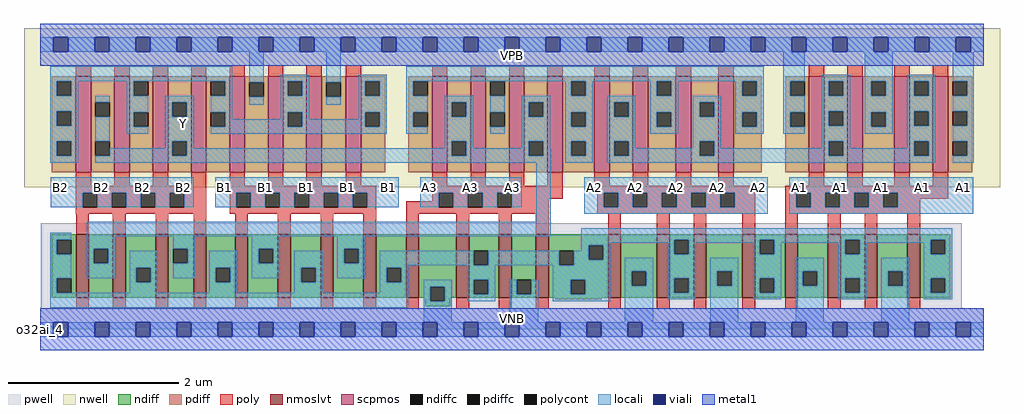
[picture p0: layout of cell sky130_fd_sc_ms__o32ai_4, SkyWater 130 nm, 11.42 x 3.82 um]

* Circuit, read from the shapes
.subckt sky130_fd_sc_ms__o32ai_4 A1 A2 A3 B1 B2 VGND VNB VPB VPWR Y
XM1 Y B2 n1 VNB sky130_fd_pr__nfet_01v8_lvt w=0.74 l=0.15 m=4
XM2 Y B1 n1 VNB sky130_fd_pr__nfet_01v8_lvt w=0.74 l=0.15 m=4
XM3 VGND A3 n1 VNB sky130_fd_pr__nfet_01v8_lvt w=0.74 l=0.15 m=4
XM4 VGND A2 n1 VNB sky130_fd_pr__nfet_01v8_lvt w=0.74 l=0.15 m=4
XM5 VGND A1 n1 VNB sky130_fd_pr__nfet_01v8_lvt w=0.74 l=0.15 m=4
XM6 Y B2 n2 VPB sky130_fd_pr__pfet_01v8 w=1.12 l=0.18 m=4
XM7 VPWR B1 n2 VPB sky130_fd_pr__pfet_01v8 w=1.12 l=0.18 m=4
XM8 Y A3 n3 VPB sky130_fd_pr__pfet_01v8 w=1.12 l=0.18 m=4
XM9 n4 A2 n3 VPB sky130_fd_pr__pfet_01v8 w=1.12 l=0.18 m=4
XM10 n4 A1 VPWR VPB sky130_fd_pr__pfet_01v8 w=1.12 l=0.18 m=4
.ends

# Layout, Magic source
magic
tech sky130A
magscale 1 2
<< nwell >>
rect -38 332 2246 704
<< pwell >>
rect 1 49 2156 248
rect 0 0 2208 49
<< scpmos >>
rect 83 368 119 592
rect 173 368 209 592
rect 263 368 299 592
rect 353 368 389 592
rect 443 368 479 592
rect 533 368 569 592
rect 623 368 659 592
rect 715 368 751 592
rect 917 368 953 592
rect 1007 368 1043 592
rect 1097 368 1133 592
rect 1187 368 1223 592
rect 1297 368 1333 592
rect 1387 368 1423 592
rect 1487 368 1523 592
rect 1587 368 1623 592
rect 1799 368 1835 592
rect 1889 368 1925 592
rect 1999 368 2035 592
rect 2089 368 2125 592
<< nmoslvt >>
rect 84 74 114 222
rect 170 74 200 222
rect 270 74 300 222
rect 359 74 389 222
rect 456 74 486 222
rect 556 74 586 222
rect 656 74 686 222
rect 756 74 786 222
rect 856 74 886 222
rect 974 74 1004 222
rect 1073 74 1103 222
rect 1160 74 1190 222
rect 1329 74 1359 222
rect 1443 74 1473 222
rect 1529 74 1559 222
rect 1643 74 1673 222
rect 1743 74 1773 222
rect 1843 74 1873 222
rect 1929 74 1959 222
rect 2029 74 2059 222
<< ndiff >>
rect 27 210 84 222
rect 27 176 39 210
rect 73 176 84 210
rect 27 120 84 176
rect 27 86 39 120
rect 73 86 84 120
rect 27 74 84 86
rect 114 189 170 222
rect 114 155 125 189
rect 159 155 170 189
rect 114 74 170 155
rect 200 144 270 222
rect 200 110 225 144
rect 259 110 270 144
rect 200 74 270 110
rect 300 189 359 222
rect 300 155 311 189
rect 345 155 359 189
rect 300 74 359 155
rect 389 144 456 222
rect 389 110 411 144
rect 445 110 456 144
rect 389 74 456 110
rect 486 189 556 222
rect 486 155 511 189
rect 545 155 556 189
rect 486 74 556 155
rect 586 144 656 222
rect 586 110 611 144
rect 645 110 656 144
rect 586 74 656 110
rect 686 189 756 222
rect 686 155 711 189
rect 745 155 756 189
rect 686 74 756 155
rect 786 144 856 222
rect 786 110 811 144
rect 845 110 856 144
rect 786 74 856 110
rect 886 100 974 222
rect 886 74 913 100
rect 901 66 913 74
rect 947 74 974 100
rect 1004 184 1073 222
rect 1004 150 1015 184
rect 1049 150 1073 184
rect 1004 116 1073 150
rect 1004 82 1015 116
rect 1049 82 1073 116
rect 1004 74 1073 82
rect 1103 116 1160 222
rect 1103 82 1115 116
rect 1149 82 1160 116
rect 1103 74 1160 82
rect 1190 197 1329 222
rect 1190 184 1284 197
rect 1190 150 1215 184
rect 1249 163 1284 184
rect 1318 163 1329 197
rect 1249 150 1329 163
rect 1190 116 1329 150
rect 1190 82 1242 116
rect 1276 82 1329 116
rect 1190 74 1329 82
rect 1359 136 1443 222
rect 1359 102 1384 136
rect 1418 102 1443 136
rect 1359 74 1443 102
rect 1473 210 1529 222
rect 1473 176 1484 210
rect 1518 176 1529 210
rect 1473 120 1529 176
rect 1473 86 1484 120
rect 1518 86 1529 120
rect 1473 74 1529 86
rect 1559 136 1643 222
rect 1559 102 1584 136
rect 1618 102 1643 136
rect 1559 74 1643 102
rect 1673 210 1743 222
rect 1673 176 1684 210
rect 1718 176 1743 210
rect 1673 120 1743 176
rect 1673 86 1684 120
rect 1718 86 1743 120
rect 1673 74 1743 86
rect 1773 136 1843 222
rect 1773 102 1784 136
rect 1818 102 1843 136
rect 1773 74 1843 102
rect 1873 210 1929 222
rect 1873 176 1884 210
rect 1918 176 1929 210
rect 1873 120 1929 176
rect 1873 86 1884 120
rect 1918 86 1929 120
rect 1873 74 1929 86
rect 1959 136 2029 222
rect 1959 102 1984 136
rect 2018 102 2029 136
rect 1959 74 2029 102
rect 2059 210 2130 222
rect 2059 176 2084 210
rect 2118 176 2130 210
rect 2059 120 2130 176
rect 2059 86 2084 120
rect 2118 86 2130 120
rect 2059 74 2130 86
rect 947 66 959 74
rect 901 54 959 66
rect 1205 70 1314 74
<< pdiff >>
rect 27 580 83 592
rect 27 546 39 580
rect 73 546 83 580
rect 27 510 83 546
rect 27 476 39 510
rect 73 476 83 510
rect 27 440 83 476
rect 27 406 39 440
rect 73 406 83 440
rect 27 368 83 406
rect 119 531 173 592
rect 119 497 129 531
rect 163 497 173 531
rect 119 440 173 497
rect 119 406 129 440
rect 163 406 173 440
rect 119 368 173 406
rect 209 580 263 592
rect 209 546 219 580
rect 253 546 263 580
rect 209 508 263 546
rect 209 474 219 508
rect 253 474 263 508
rect 209 368 263 474
rect 299 531 353 592
rect 299 497 309 531
rect 343 497 353 531
rect 299 440 353 497
rect 299 406 309 440
rect 343 406 353 440
rect 299 368 353 406
rect 389 580 443 592
rect 389 546 399 580
rect 433 546 443 580
rect 389 508 443 546
rect 389 474 399 508
rect 433 474 443 508
rect 389 368 443 474
rect 479 578 533 592
rect 479 544 489 578
rect 523 544 533 578
rect 479 368 533 544
rect 569 580 623 592
rect 569 546 579 580
rect 613 546 623 580
rect 569 508 623 546
rect 569 474 579 508
rect 613 474 623 508
rect 569 368 623 474
rect 659 578 715 592
rect 659 544 669 578
rect 703 544 715 578
rect 659 368 715 544
rect 751 580 807 592
rect 751 546 761 580
rect 795 546 807 580
rect 751 508 807 546
rect 751 474 761 508
rect 795 474 807 508
rect 751 368 807 474
rect 861 580 917 592
rect 861 546 873 580
rect 907 546 917 580
rect 861 508 917 546
rect 861 474 873 508
rect 907 474 917 508
rect 861 368 917 474
rect 953 531 1007 592
rect 953 497 963 531
rect 997 497 1007 531
rect 953 440 1007 497
rect 953 406 963 440
rect 997 406 1007 440
rect 953 368 1007 406
rect 1043 580 1097 592
rect 1043 546 1053 580
rect 1087 546 1097 580
rect 1043 508 1097 546
rect 1043 474 1053 508
rect 1087 474 1097 508
rect 1043 368 1097 474
rect 1133 531 1187 592
rect 1133 497 1143 531
rect 1177 497 1187 531
rect 1133 440 1187 497
rect 1133 406 1143 440
rect 1177 406 1187 440
rect 1133 368 1187 406
rect 1223 580 1297 592
rect 1223 546 1243 580
rect 1277 546 1297 580
rect 1223 508 1297 546
rect 1223 474 1243 508
rect 1277 474 1297 508
rect 1223 440 1297 474
rect 1223 406 1243 440
rect 1277 406 1297 440
rect 1223 368 1297 406
rect 1333 531 1387 592
rect 1333 497 1343 531
rect 1377 497 1387 531
rect 1333 440 1387 497
rect 1333 406 1343 440
rect 1377 406 1387 440
rect 1333 368 1387 406
rect 1423 580 1487 592
rect 1423 546 1443 580
rect 1477 546 1487 580
rect 1423 508 1487 546
rect 1423 474 1443 508
rect 1477 474 1487 508
rect 1423 368 1487 474
rect 1523 531 1587 592
rect 1523 497 1543 531
rect 1577 497 1587 531
rect 1523 440 1587 497
rect 1523 406 1543 440
rect 1577 406 1587 440
rect 1523 368 1587 406
rect 1623 580 1689 592
rect 1623 546 1643 580
rect 1677 546 1689 580
rect 1623 508 1689 546
rect 1623 474 1643 508
rect 1677 474 1689 508
rect 1623 368 1689 474
rect 1743 580 1799 592
rect 1743 546 1755 580
rect 1789 546 1799 580
rect 1743 508 1799 546
rect 1743 474 1755 508
rect 1789 474 1799 508
rect 1743 368 1799 474
rect 1835 580 1889 592
rect 1835 546 1845 580
rect 1879 546 1889 580
rect 1835 510 1889 546
rect 1835 476 1845 510
rect 1879 476 1889 510
rect 1835 440 1889 476
rect 1835 406 1845 440
rect 1879 406 1889 440
rect 1835 368 1889 406
rect 1925 580 1999 592
rect 1925 546 1945 580
rect 1979 546 1999 580
rect 1925 508 1999 546
rect 1925 474 1945 508
rect 1979 474 1999 508
rect 1925 368 1999 474
rect 2035 580 2089 592
rect 2035 546 2045 580
rect 2079 546 2089 580
rect 2035 510 2089 546
rect 2035 476 2045 510
rect 2079 476 2089 510
rect 2035 440 2089 476
rect 2035 406 2045 440
rect 2079 406 2089 440
rect 2035 368 2089 406
rect 2125 580 2181 592
rect 2125 546 2135 580
rect 2169 546 2181 580
rect 2125 510 2181 546
rect 2125 476 2135 510
rect 2169 476 2181 510
rect 2125 440 2181 476
rect 2125 406 2135 440
rect 2169 406 2181 440
rect 2125 368 2181 406
<< ndiffc >>
rect 39 176 73 210
rect 39 86 73 120
rect 125 155 159 189
rect 225 110 259 144
rect 311 155 345 189
rect 411 110 445 144
rect 511 155 545 189
rect 611 110 645 144
rect 711 155 745 189
rect 811 110 845 144
rect 913 66 947 100
rect 1015 150 1049 184
rect 1015 82 1049 116
rect 1115 82 1149 116
rect 1215 150 1249 184
rect 1284 163 1318 197
rect 1242 82 1276 116
rect 1384 102 1418 136
rect 1484 176 1518 210
rect 1484 86 1518 120
rect 1584 102 1618 136
rect 1684 176 1718 210
rect 1684 86 1718 120
rect 1784 102 1818 136
rect 1884 176 1918 210
rect 1884 86 1918 120
rect 1984 102 2018 136
rect 2084 176 2118 210
rect 2084 86 2118 120
<< pdiffc >>
rect 39 546 73 580
rect 39 476 73 510
rect 39 406 73 440
rect 129 497 163 531
rect 129 406 163 440
rect 219 546 253 580
rect 219 474 253 508
rect 309 497 343 531
rect 309 406 343 440
rect 399 546 433 580
rect 399 474 433 508
rect 489 544 523 578
rect 579 546 613 580
rect 579 474 613 508
rect 669 544 703 578
rect 761 546 795 580
rect 761 474 795 508
rect 873 546 907 580
rect 873 474 907 508
rect 963 497 997 531
rect 963 406 997 440
rect 1053 546 1087 580
rect 1053 474 1087 508
rect 1143 497 1177 531
rect 1143 406 1177 440
rect 1243 546 1277 580
rect 1243 474 1277 508
rect 1243 406 1277 440
rect 1343 497 1377 531
rect 1343 406 1377 440
rect 1443 546 1477 580
rect 1443 474 1477 508
rect 1543 497 1577 531
rect 1543 406 1577 440
rect 1643 546 1677 580
rect 1643 474 1677 508
rect 1755 546 1789 580
rect 1755 474 1789 508
rect 1845 546 1879 580
rect 1845 476 1879 510
rect 1845 406 1879 440
rect 1945 546 1979 580
rect 1945 474 1979 508
rect 2045 546 2079 580
rect 2045 476 2079 510
rect 2045 406 2079 440
rect 2135 546 2169 580
rect 2135 476 2169 510
rect 2135 406 2169 440
<< poly >>
rect 83 592 119 618
rect 173 592 209 618
rect 263 592 299 618
rect 353 592 389 618
rect 443 592 479 618
rect 533 592 569 618
rect 623 592 659 618
rect 715 592 751 618
rect 917 592 953 618
rect 1007 592 1043 618
rect 1097 592 1133 618
rect 1187 592 1223 618
rect 1297 592 1333 618
rect 1387 592 1423 618
rect 1487 592 1523 618
rect 1587 592 1623 618
rect 1799 592 1835 618
rect 1889 592 1925 618
rect 1999 592 2035 618
rect 2089 592 2125 618
rect 83 336 119 368
rect 173 336 209 368
rect 263 336 299 368
rect 353 336 389 368
rect 83 320 389 336
rect 83 286 99 320
rect 133 286 167 320
rect 201 286 235 320
rect 269 286 303 320
rect 337 286 389 320
rect 83 270 389 286
rect 443 336 479 368
rect 533 336 569 368
rect 623 336 659 368
rect 715 336 751 368
rect 917 336 953 368
rect 1007 336 1043 368
rect 1097 336 1133 368
rect 1187 336 1223 368
rect 1297 336 1333 368
rect 1387 336 1423 368
rect 1487 336 1523 368
rect 1587 336 1623 368
rect 1799 336 1835 368
rect 1889 336 1925 368
rect 1999 336 2035 368
rect 2089 336 2125 368
rect 443 320 786 336
rect 443 286 459 320
rect 493 286 527 320
rect 561 286 595 320
rect 629 286 663 320
rect 697 286 731 320
rect 765 286 786 320
rect 917 320 1223 336
rect 917 300 933 320
rect 443 270 786 286
rect 84 222 114 270
rect 170 222 200 270
rect 270 222 300 270
rect 359 222 389 270
rect 456 222 486 270
rect 556 222 586 270
rect 656 222 686 270
rect 756 222 786 270
rect 856 286 933 300
rect 967 286 1001 320
rect 1035 286 1069 320
rect 1103 306 1223 320
rect 1303 320 1673 336
rect 1103 286 1190 306
rect 856 270 1190 286
rect 1303 286 1319 320
rect 1353 286 1387 320
rect 1421 286 1455 320
rect 1489 286 1523 320
rect 1557 286 1591 320
rect 1625 286 1673 320
rect 1303 270 1673 286
rect 856 222 886 270
rect 974 222 1004 270
rect 1073 222 1103 270
rect 1160 222 1190 270
rect 1329 222 1359 270
rect 1443 222 1473 270
rect 1529 222 1559 270
rect 1643 222 1673 270
rect 1743 320 2125 336
rect 1743 286 1769 320
rect 1803 286 1837 320
rect 1871 286 1905 320
rect 1939 286 1973 320
rect 2007 306 2125 320
rect 2007 286 2059 306
rect 1743 270 2059 286
rect 1743 222 1773 270
rect 1843 222 1873 270
rect 1929 222 1959 270
rect 2029 222 2059 270
rect 84 48 114 74
rect 170 48 200 74
rect 270 48 300 74
rect 359 48 389 74
rect 456 48 486 74
rect 556 48 586 74
rect 656 48 686 74
rect 756 48 786 74
rect 856 48 886 74
rect 974 48 1004 74
rect 1073 48 1103 74
rect 1160 48 1190 74
rect 1329 48 1359 74
rect 1443 48 1473 74
rect 1529 48 1559 74
rect 1643 48 1673 74
rect 1743 48 1773 74
rect 1843 48 1873 74
rect 1929 48 1959 74
rect 2029 48 2059 74
<< polycont >>
rect 99 286 133 320
rect 167 286 201 320
rect 235 286 269 320
rect 303 286 337 320
rect 459 286 493 320
rect 527 286 561 320
rect 595 286 629 320
rect 663 286 697 320
rect 731 286 765 320
rect 933 286 967 320
rect 1001 286 1035 320
rect 1069 286 1103 320
rect 1319 286 1353 320
rect 1387 286 1421 320
rect 1455 286 1489 320
rect 1523 286 1557 320
rect 1591 286 1625 320
rect 1769 286 1803 320
rect 1837 286 1871 320
rect 1905 286 1939 320
rect 1973 286 2007 320
<< locali >>
rect 0 649 31 683
rect 65 649 127 683
rect 161 649 223 683
rect 257 649 319 683
rect 353 649 415 683
rect 449 649 511 683
rect 545 649 607 683
rect 641 649 703 683
rect 737 649 799 683
rect 833 649 895 683
rect 929 649 991 683
rect 1025 649 1087 683
rect 1121 649 1183 683
rect 1217 649 1279 683
rect 1313 649 1375 683
rect 1409 649 1471 683
rect 1505 649 1567 683
rect 1601 649 1663 683
rect 1697 649 1759 683
rect 1793 649 1855 683
rect 1889 649 1951 683
rect 1985 649 2047 683
rect 2081 649 2143 683
rect 2177 649 2208 683
rect 23 581 449 615
rect 23 580 89 581
rect 23 546 39 580
rect 73 546 89 580
rect 203 580 253 581
rect 23 510 89 546
rect 23 476 39 510
rect 73 476 89 510
rect 23 440 89 476
rect 23 406 39 440
rect 73 406 89 440
rect 23 390 89 406
rect 129 531 163 547
rect 129 440 163 497
rect 203 546 219 580
rect 399 580 449 581
rect 203 508 253 546
rect 203 474 219 508
rect 203 458 253 474
rect 293 531 359 547
rect 293 497 309 531
rect 343 497 359 531
rect 293 440 359 497
rect 433 546 449 580
rect 399 508 449 546
rect 489 578 523 649
rect 489 526 523 544
rect 563 580 629 596
rect 563 546 579 580
rect 613 546 629 580
rect 433 492 449 508
rect 563 508 629 546
rect 669 578 703 649
rect 669 526 703 544
rect 745 580 811 596
rect 745 546 761 580
rect 795 546 811 580
rect 563 492 579 508
rect 433 474 579 492
rect 613 492 629 508
rect 745 508 811 546
rect 745 492 761 508
rect 613 474 761 492
rect 795 474 811 508
rect 399 458 811 474
rect 857 581 1693 615
rect 857 580 907 581
rect 857 546 873 580
rect 1053 580 1087 581
rect 857 508 907 546
rect 857 474 873 508
rect 857 458 907 474
rect 947 531 1013 547
rect 947 497 963 531
rect 997 497 1013 531
rect 293 424 309 440
rect 163 406 309 424
rect 343 424 359 440
rect 947 440 1013 497
rect 1229 580 1293 581
rect 1053 508 1087 546
rect 1053 458 1087 474
rect 1127 531 1193 547
rect 1127 497 1143 531
rect 1177 497 1193 531
rect 947 424 963 440
rect 343 406 963 424
rect 997 424 1013 440
rect 1127 440 1193 497
rect 1127 424 1143 440
rect 997 406 1143 424
rect 1177 424 1193 440
rect 1229 546 1243 580
rect 1277 546 1293 580
rect 1427 580 1493 581
rect 1229 508 1293 546
rect 1229 474 1243 508
rect 1277 474 1293 508
rect 1229 440 1293 474
rect 1177 406 1195 424
rect 129 390 1195 406
rect 1229 406 1243 440
rect 1277 406 1293 440
rect 1229 390 1293 406
rect 1327 531 1393 547
rect 1327 497 1343 531
rect 1377 497 1393 531
rect 1327 440 1393 497
rect 1427 546 1443 580
rect 1477 546 1493 580
rect 1627 580 1693 581
rect 1427 508 1493 546
rect 1427 474 1443 508
rect 1477 474 1493 508
rect 1427 458 1493 474
rect 1527 531 1593 547
rect 1527 497 1543 531
rect 1577 497 1593 531
rect 1327 406 1343 440
rect 1377 424 1393 440
rect 1527 440 1593 497
rect 1627 546 1643 580
rect 1677 546 1693 580
rect 1627 508 1693 546
rect 1627 474 1643 508
rect 1677 474 1693 508
rect 1627 458 1693 474
rect 1739 580 1789 649
rect 1739 546 1755 580
rect 1739 508 1789 546
rect 1739 474 1755 508
rect 1739 458 1789 474
rect 1829 580 1895 596
rect 1829 546 1845 580
rect 1879 546 1895 580
rect 1829 510 1895 546
rect 1829 476 1845 510
rect 1879 476 1895 510
rect 1527 424 1543 440
rect 1377 406 1543 424
rect 1577 424 1593 440
rect 1829 440 1895 476
rect 1929 580 1995 649
rect 1929 546 1945 580
rect 1979 546 1995 580
rect 1929 508 1995 546
rect 1929 474 1945 508
rect 1979 474 1995 508
rect 1929 458 1995 474
rect 2029 580 2095 596
rect 2029 546 2045 580
rect 2079 546 2095 580
rect 2029 510 2095 546
rect 2029 476 2045 510
rect 2079 476 2095 510
rect 1829 424 1845 440
rect 1577 406 1845 424
rect 1879 424 1895 440
rect 2029 440 2095 476
rect 2029 424 2045 440
rect 1879 406 2045 424
rect 2079 406 2095 440
rect 1327 390 2095 406
rect 2135 580 2185 649
rect 2169 546 2185 580
rect 2135 510 2185 546
rect 2169 476 2185 510
rect 2135 440 2185 476
rect 2169 406 2185 440
rect 2135 390 2185 406
rect 25 320 359 356
rect 25 286 99 320
rect 133 286 167 320
rect 201 286 235 320
rect 269 286 303 320
rect 337 286 359 320
rect 409 320 839 356
rect 409 286 459 320
rect 493 286 527 320
rect 561 286 595 320
rect 629 286 663 320
rect 697 286 731 320
rect 765 286 839 320
rect 889 320 1127 356
rect 889 286 933 320
rect 967 286 1001 320
rect 1035 286 1069 320
rect 1103 286 1127 320
rect 1161 252 1195 390
rect 1273 320 1703 356
rect 1273 286 1319 320
rect 1353 286 1387 320
rect 1421 286 1455 320
rect 1489 286 1523 320
rect 1557 286 1591 320
rect 1625 286 1703 320
rect 1273 270 1703 286
rect 1753 320 2183 356
rect 1753 286 1769 320
rect 1803 286 1837 320
rect 1871 286 1905 320
rect 1939 286 1973 320
rect 2007 286 2183 320
rect 1753 270 2183 286
rect 23 210 73 226
rect 23 176 39 210
rect 23 120 73 176
rect 23 86 39 120
rect 109 218 1195 252
rect 109 189 175 218
rect 109 155 125 189
rect 159 155 175 189
rect 311 189 361 218
rect 109 119 175 155
rect 209 144 275 184
rect 23 85 73 86
rect 209 110 225 144
rect 259 110 275 144
rect 345 155 361 189
rect 495 189 561 218
rect 311 119 361 155
rect 395 144 461 184
rect 209 85 275 110
rect 395 110 411 144
rect 445 110 461 144
rect 495 155 511 189
rect 545 155 561 189
rect 695 189 761 218
rect 495 119 561 155
rect 595 144 661 184
rect 395 85 461 110
rect 595 110 611 144
rect 645 110 661 144
rect 695 155 711 189
rect 745 155 761 189
rect 1266 210 2134 236
rect 1266 202 1484 210
rect 1266 197 1334 202
rect 1266 184 1284 197
rect 695 119 761 155
rect 795 150 1015 184
rect 1049 150 1215 184
rect 1249 163 1284 184
rect 1318 163 1334 197
rect 1468 176 1484 202
rect 1518 202 1684 210
rect 1518 176 1534 202
rect 1249 150 1334 163
rect 795 144 861 150
rect 595 85 661 110
rect 795 110 811 144
rect 845 110 861 144
rect 999 116 1065 150
rect 1199 116 1334 150
rect 795 85 861 110
rect 23 51 861 85
rect 897 100 963 116
rect 897 66 913 100
rect 947 66 963 100
rect 999 82 1015 116
rect 1049 82 1065 116
rect 999 66 1065 82
rect 1099 82 1115 116
rect 1149 82 1165 116
rect 897 17 963 66
rect 1099 17 1165 82
rect 1199 82 1242 116
rect 1276 82 1334 116
rect 1199 66 1334 82
rect 1368 136 1434 168
rect 1368 102 1384 136
rect 1418 102 1434 136
rect 1368 17 1434 102
rect 1468 120 1534 176
rect 1668 176 1684 202
rect 1718 202 1884 210
rect 1718 176 1734 202
rect 1468 86 1484 120
rect 1518 86 1534 120
rect 1468 70 1534 86
rect 1568 136 1634 168
rect 1568 102 1584 136
rect 1618 102 1634 136
rect 1568 17 1634 102
rect 1668 120 1734 176
rect 1868 176 1884 202
rect 1918 202 2084 210
rect 1918 176 1934 202
rect 1668 86 1684 120
rect 1718 86 1734 120
rect 1668 70 1734 86
rect 1768 136 1834 168
rect 1768 102 1784 136
rect 1818 102 1834 136
rect 1768 17 1834 102
rect 1868 120 1934 176
rect 2068 176 2084 202
rect 2118 176 2134 210
rect 1868 86 1884 120
rect 1918 86 1934 120
rect 1868 70 1934 86
rect 1968 136 2034 168
rect 1968 102 1984 136
rect 2018 102 2034 136
rect 1968 17 2034 102
rect 2068 120 2134 176
rect 2068 86 2084 120
rect 2118 86 2134 120
rect 2068 70 2134 86
rect 0 -17 31 17
rect 65 -17 127 17
rect 161 -17 223 17
rect 257 -17 319 17
rect 353 -17 415 17
rect 449 -17 511 17
rect 545 -17 607 17
rect 641 -17 703 17
rect 737 -17 799 17
rect 833 -17 895 17
rect 929 -17 991 17
rect 1025 -17 1087 17
rect 1121 -17 1183 17
rect 1217 -17 1279 17
rect 1313 -17 1375 17
rect 1409 -17 1471 17
rect 1505 -17 1567 17
rect 1601 -17 1663 17
rect 1697 -17 1759 17
rect 1793 -17 1855 17
rect 1889 -17 1951 17
rect 1985 -17 2047 17
rect 2081 -17 2143 17
rect 2177 -17 2208 17
<< viali >>
rect 31 649 65 683
rect 127 649 161 683
rect 223 649 257 683
rect 319 649 353 683
rect 415 649 449 683
rect 511 649 545 683
rect 607 649 641 683
rect 703 649 737 683
rect 799 649 833 683
rect 895 649 929 683
rect 991 649 1025 683
rect 1087 649 1121 683
rect 1183 649 1217 683
rect 1279 649 1313 683
rect 1375 649 1409 683
rect 1471 649 1505 683
rect 1567 649 1601 683
rect 1663 649 1697 683
rect 1759 649 1793 683
rect 1855 649 1889 683
rect 1951 649 1985 683
rect 2047 649 2081 683
rect 2143 649 2177 683
rect 31 -17 65 17
rect 127 -17 161 17
rect 223 -17 257 17
rect 319 -17 353 17
rect 415 -17 449 17
rect 511 -17 545 17
rect 607 -17 641 17
rect 703 -17 737 17
rect 799 -17 833 17
rect 895 -17 929 17
rect 991 -17 1025 17
rect 1087 -17 1121 17
rect 1183 -17 1217 17
rect 1279 -17 1313 17
rect 1375 -17 1409 17
rect 1471 -17 1505 17
rect 1567 -17 1601 17
rect 1663 -17 1697 17
rect 1759 -17 1793 17
rect 1855 -17 1889 17
rect 1951 -17 1985 17
rect 2047 -17 2081 17
rect 2143 -17 2177 17
<< metal1 >>
rect 0 683 2208 715
rect 0 649 31 683
rect 65 649 127 683
rect 161 649 223 683
rect 257 649 319 683
rect 353 649 415 683
rect 449 649 511 683
rect 545 649 607 683
rect 641 649 703 683
rect 737 649 799 683
rect 833 649 895 683
rect 929 649 991 683
rect 1025 649 1087 683
rect 1121 649 1183 683
rect 1217 649 1279 683
rect 1313 649 1375 683
rect 1409 649 1471 683
rect 1505 649 1567 683
rect 1601 649 1663 683
rect 1697 649 1759 683
rect 1793 649 1855 683
rect 1889 649 1951 683
rect 1985 649 2047 683
rect 2081 649 2143 683
rect 2177 649 2208 683
rect 0 617 2208 649
rect 0 17 2208 49
rect 0 -17 31 17
rect 65 -17 127 17
rect 161 -17 223 17
rect 257 -17 319 17
rect 353 -17 415 17
rect 449 -17 511 17
rect 545 -17 607 17
rect 641 -17 703 17
rect 737 -17 799 17
rect 833 -17 895 17
rect 929 -17 991 17
rect 1025 -17 1087 17
rect 1121 -17 1183 17
rect 1217 -17 1279 17
rect 1313 -17 1375 17
rect 1409 -17 1471 17
rect 1505 -17 1567 17
rect 1601 -17 1663 17
rect 1697 -17 1759 17
rect 1793 -17 1855 17
rect 1889 -17 1951 17
rect 1985 -17 2047 17
rect 2081 -17 2143 17
rect 2177 -17 2208 17
rect 0 -49 2208 -17
<< labels >>
flabel pwell s 0 0 2208 49 0 FreeSans 200 0 0 0 VNB
port 7 nsew ground bidirectional
flabel nwell s 0 617 2208 666 0 FreeSans 200 0 0 0 VPB
port 8 nsew power bidirectional
rlabel comment s 0 0 0 0 4 o32ai_4
flabel metal1 s 0 617 2208 666 0 FreeSans 340 0 0 0 VPWR
port 9 nsew power bidirectional
flabel metal1 s 0 0 2208 49 0 FreeSans 340 0 0 0 VGND
port 6 nsew ground bidirectional
flabel locali s 319 464 353 498 0 FreeSans 340 0 0 0 Y
port 10 nsew signal output
flabel locali s 31 316 65 350 0 FreeSans 340 0 0 0 B2
port 5 nsew signal input
flabel locali s 127 316 161 350 0 FreeSans 340 0 0 0 B2
port 5 nsew signal input
flabel locali s 223 316 257 350 0 FreeSans 340 0 0 0 B2
port 5 nsew signal input
flabel locali s 319 316 353 350 0 FreeSans 340 0 0 0 B2
port 5 nsew signal input
flabel locali s 415 316 449 350 0 FreeSans 340 0 0 0 B1
port 4 nsew signal input
flabel locali s 511 316 545 350 0 FreeSans 340 0 0 0 B1
port 4 nsew signal input
flabel locali s 607 316 641 350 0 FreeSans 340 0 0 0 B1
port 4 nsew signal input
flabel locali s 703 316 737 350 0 FreeSans 340 0 0 0 B1
port 4 nsew signal input
flabel locali s 799 316 833 350 0 FreeSans 340 0 0 0 B1
port 4 nsew signal input
flabel locali s 895 316 929 350 0 FreeSans 340 0 0 0 A3
port 3 nsew signal input
flabel locali s 991 316 1025 350 0 FreeSans 340 0 0 0 A3
port 3 nsew signal input
flabel locali s 1087 316 1121 350 0 FreeSans 340 0 0 0 A3
port 3 nsew signal input
flabel locali s 1279 316 1313 350 0 FreeSans 340 0 0 0 A2
port 2 nsew signal input
flabel locali s 1375 316 1409 350 0 FreeSans 340 0 0 0 A2
port 2 nsew signal input
flabel locali s 1471 316 1505 350 0 FreeSans 340 0 0 0 A2
port 2 nsew signal input
flabel locali s 1567 316 1601 350 0 FreeSans 340 0 0 0 A2
port 2 nsew signal input
flabel locali s 1663 316 1697 350 0 FreeSans 340 0 0 0 A2
port 2 nsew signal input
flabel locali s 1759 316 1793 350 0 FreeSans 340 0 0 0 A1
port 1 nsew signal input
flabel locali s 1855 316 1889 350 0 FreeSans 340 0 0 0 A1
port 1 nsew signal input
flabel locali s 1951 316 1985 350 0 FreeSans 340 0 0 0 A1
port 1 nsew signal input
flabel locali s 2047 316 2081 350 0 FreeSans 340 0 0 0 A1
port 1 nsew signal input
flabel locali s 2143 316 2177 350 0 FreeSans 340 0 0 0 A1
port 1 nsew signal input
<< properties >>
string LEFsite unit
string LEFclass CORE
string FIXED_BBOX 0 0 2208 666
string GDS_FILE $PDKPATH/libs.ref/sky130_fd_sc_ms/gds/sky130_fd_sc_ms.gds
string LEFsymmetry X Y
string GDS_END 955718
string GDS_START 938390
<< end >>
